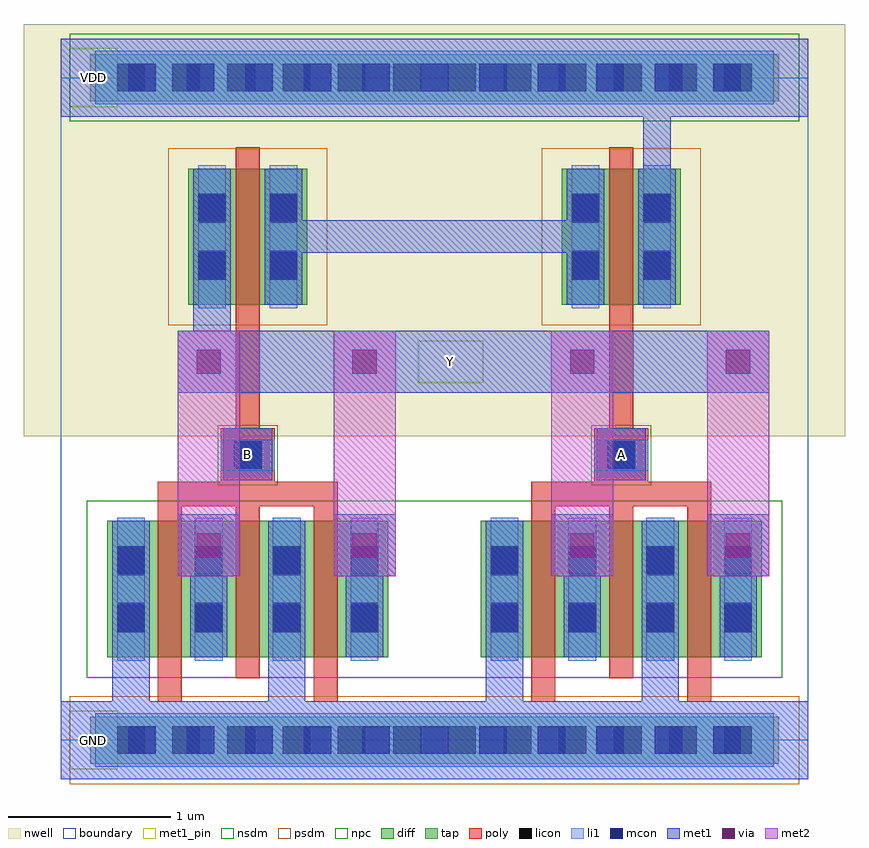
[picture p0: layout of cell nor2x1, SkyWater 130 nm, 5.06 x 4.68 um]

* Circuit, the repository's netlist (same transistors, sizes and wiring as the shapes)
** sch_path: /foss/designs/nor2x1.sch
.subckt nor2x1 A B VDD GND Y
*.PININFO A:I B:I VDD:B GND:B Y:O
XM1 Y A GND GND sky130_fd_pr__nfet_01v8 L=0.15 W=2.52 nf=3
XM3 net1 A VDD VDD sky130_fd_pr__pfet_01v8 L=0.15 W=0.84 nf=1
XM4 Y B net1 VDD sky130_fd_pr__pfet_01v8 L=0.15 W=0.84 nf=1
XM2 Y B GND GND sky130_fd_pr__nfet_01v8 L=0.15 W=2.52 nf=3
.ends

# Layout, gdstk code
import gdstk
lib = gdstk.Library(unit=1e-6, precision=1e-09)
def R(c, l, rs):  # rectangles x0, y0, x1, y1
    for r in rs: c.add(gdstk.rectangle(r[:2], r[2:], *l))
def A(c, l, x, y, w, h, nx, ny, dx, dy):  # array of equal rectangles
    R(c, l, [(x+i*dx, y+j*dy, x+i*dx+w, y+j*dy+h) for i in range(nx) for j in range(ny)])
nwell = (64, 20)
diff = (65, 20)
tap = (65, 44)
poly = (66, 20)
licon = (66, 44)
li1 = (67, 20)
mcon = (67, 44)
met1_pin = (68, 16)
met1 = (68, 20)
via = (68, 44)
met2 = (69, 20)
nsdm = (93, 44)
psdm = (94, 20)
npc = (95, 20)
boundary = (235, 4)

sky130_fd_pr__pfet_01v8_ = lib.new_cell('sky130_fd_pr__pfet_01v8_W5J8BK')
R(sky130_fd_pr__pfet_01v8_, nwell, [(-0.545,-0.73,0.545,0.73)])
R(sky130_fd_pr__pfet_01v8_, diff, [(-0.365,-0.42,0.365,0.42)])
R(sky130_fd_pr__pfet_01v8_, poly, [(-0.075,-0.55,0.075,0.55)])
R(sky130_fd_pr__pfet_01v8_, licon, [(-0.305,-0.255,-0.135,-0.085), (0.135,-0.255,0.305,-0.085), (-0.305,0.085,-0.135,0.255), (0.135,0.085,0.305,0.255)])
R(sky130_fd_pr__pfet_01v8_, li1, [(-0.305,-0.44,-0.135,0.44), (0.135,-0.44,0.305,0.44)])
R(sky130_fd_pr__pfet_01v8_, mcon, [(-0.305,-0.265,-0.135,-0.095), (0.135,-0.265,0.305,-0.095), (-0.305,0.095,-0.135,0.265), (0.135,0.095,0.305,0.265)])
R(sky130_fd_pr__pfet_01v8_, met1, [(-0.335,-0.42,-0.105,0.42), (0.105,-0.42,0.335,0.42)])
R(sky130_fd_pr__pfet_01v8_, psdm, [(-0.49,-0.545,0.49,0.545)])
sky130_fd_pr__pfet_01v8_.add(gdstk.Label('D', (-0.22,0), layer=67, texttype=5))
sky130_fd_pr__pfet_01v8_.add(gdstk.Label('S', (0.22,0), layer=67, texttype=5))

sky130_fd_pr__nfet_01v8_ = lib.new_cell('sky130_fd_pr__nfet_01v8_RPKUUV')
R(sky130_fd_pr__nfet_01v8_, diff, [(-0.865,-0.42,0.865,0.42)])
R(sky130_fd_pr__nfet_01v8_, poly, [(-0.555,-0.695,-0.405,0.55), (0.405,-0.695,0.555,0.55), (-0.075,-0.55,0.075,0.695)])
A(sky130_fd_pr__nfet_01v8_, licon, -0.805, -0.255, 0.17, 0.17, 4, 2, 0.48, 0.34)
A(sky130_fd_pr__nfet_01v8_, li1, -0.805, -0.44, 0.17, 0.88, 4, 1, 0.48, 0)
A(sky130_fd_pr__nfet_01v8_, mcon, -0.805, -0.265, 0.17, 0.17, 4, 2, 0.48, 0.36)
A(sky130_fd_pr__nfet_01v8_, met1, -0.835, -0.42, 0.23, 0.84, 4, 1, 0.48, 0)
R(sky130_fd_pr__nfet_01v8_, nsdm, [(-0.99,-0.545,0.99,0.545)])
sky130_fd_pr__nfet_01v8_.add(gdstk.Label('D0', (-0.72,0), layer=67, texttype=5))
sky130_fd_pr__nfet_01v8_.add(gdstk.Label('S1', (-0.24,0), layer=67, texttype=5))
sky130_fd_pr__nfet_01v8_.add(gdstk.Label('D2', (0.24,0), layer=67, texttype=5))
sky130_fd_pr__nfet_01v8_.add(gdstk.Label('S2', (0.72,0), layer=67, texttype=5))

nor2x1 = lib.new_cell('nor2x1')
R(nor2x1, nwell, [(-0.23,1.87,4.83,4.41)])
R(nor2x1, tap, [(0.18,-0.145,4.42,0.145), (0.18,3.935,4.42,4.225)])
R(nor2x1, poly, [(0.595,1.44,1.705,1.59), (2.895,1.44,4.005,1.59), (0.985,1.59,1.315,1.92), (3.285,1.59,3.615,1.92), (1.075,1.92,1.225,2.8), (3.375,1.92,3.525,2.8)])
A(nor2x1, licon, 0.345, -0.085, 0.17, 0.17, 12, 2, 0.34, 4.08)
R(nor2x1, licon, [(1.065,1.67,1.235,1.84), (3.365,1.67,3.535,1.84)])
R(nor2x1, li1, [(0.21,-0.165,4.39,0.165), (0.985,1.66,1.315,1.85), (3.285,1.66,3.615,1.85), (0.21,3.915,4.39,4.245)])
A(nor2x1, mcon, 0.415, -0.085, 0.17, 0.17, 11, 2, 0.36, 4.08)
R(nor2x1, mcon, [(1.065,1.67,1.235,1.84), (3.365,1.67,3.535,1.84)])
R(nor2x1, met1_pin, [(0.05,-0.18,0.35,0.18), (1,1.6,1.3,1.92), (3.3,1.6,3.6,1.92), (2.2,2.2,2.6,2.46), (0.05,3.9,0.35,4.26)])
R(nor2x1, met1, [(0,-0.24,4.6,0.24), (0.315,0.24,0.545,0.6), (1.275,0.24,1.505,0.6), (2.615,0.24,2.845,0.6), (3.575,0.24,3.805,0.6), (0.72,1.01,1.1,1.39), (1.68,1.01,2.06,1.39), (3.02,1.01,3.4,1.39), (3.98,1.01,4.36,1.39), (1,1.6,1.3,1.92), (3.3,1.6,3.6,1.92), (0.72,2.14,4.36,2.52), (0.815,2.52,1.045,2.8), (1.255,3,3.345,3.2), (3.585,3.4,3.755,3.84), (0,3.84,4.6,4.32)])
R(nor2x1, via, [(0.835,1.125,0.985,1.275), (1.795,1.125,1.945,1.275), (3.135,1.125,3.285,1.275), (4.095,1.125,4.245,1.275), (0.835,2.255,0.985,2.405), (1.795,2.255,1.945,2.405), (3.135,2.255,3.285,2.405), (4.095,2.255,4.245,2.405)])
R(nor2x1, met2, [(0.72,1.01,1.1,2.52), (1.68,1.01,2.06,2.52), (3.02,1.01,3.4,2.52), (3.98,1.01,4.36,2.52)])
R(nor2x1, nsdm, [(2.14,0.385,2.46,1.475), (0.055,3.81,4.545,4.35)])
R(nor2x1, psdm, [(0.055,-0.27,4.545,0.27)])
R(nor2x1, npc, [(0.965,1.57,1.335,1.94), (3.265,1.57,3.635,1.94)])
R(nor2x1, boundary, [(0,0,4.6,4.08)])
nor2x1.add(gdstk.Reference(sky130_fd_pr__pfet_01v8_, (3.45,3.1)))
nor2x1.add(gdstk.Reference(sky130_fd_pr__pfet_01v8_, (1.15,3.1)))
nor2x1.add(gdstk.Reference(sky130_fd_pr__nfet_01v8_, (3.45,0.93)))
nor2x1.add(gdstk.Reference(sky130_fd_pr__nfet_01v8_, (1.15,0.93)))
nor2x1.add(gdstk.Label('B', (1.15,1.76), layer=68, texttype=5))
nor2x1.add(gdstk.Label('A', (3.45,1.76), layer=68, texttype=5))
nor2x1.add(gdstk.Label('Y', (2.4,2.33), layer=68, texttype=5))
nor2x1.add(gdstk.Label('VDD', (0.2,4.08), layer=68, texttype=5))
nor2x1.add(gdstk.Label('GND', (0.2,0), layer=68, texttype=5))

lib.write_gds('nor2x1.gds')
